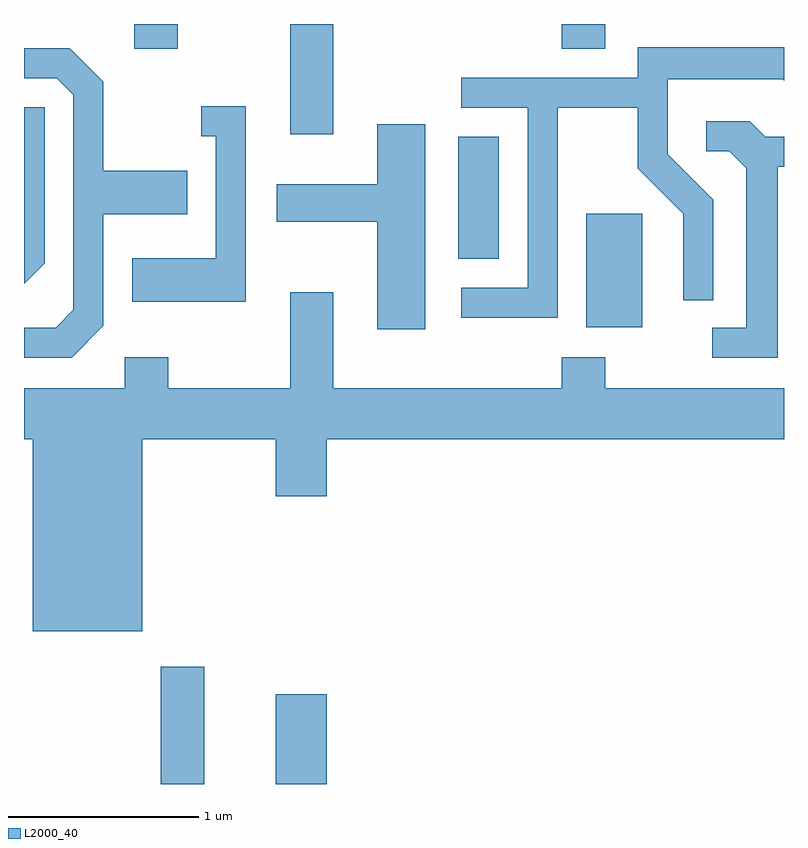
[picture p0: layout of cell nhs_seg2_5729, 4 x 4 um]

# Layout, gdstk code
import gdstk
lib = gdstk.Library(unit=1e-6, precision=1e-09)
def R(c, l, rs):  # rectangles x0, y0, x1, y1
    for r in rs: c.add(gdstk.rectangle(r[:2], r[2:], *l))
def P(c, l, *ps):  # polygons
    for p in ps: c.add(gdstk.Polygon(p, *l))
L2000_40 = (2000, 40)

nhs_seg2_5729 = lib.new_cell('nhs_seg2_5729')
R(nhs_seg2_5729, L2000_40, [(354.331,1079.802,354.559,1080.419), (354.936,1079.802,355.204,1080.274), (356.571,1082.206,356.864,1082.804), (355.896,1082.566,356.109,1083.209), (355.011,1083.221,355.239,1083.802), (354.191,1083.671,354.419,1083.802), (356.441,1083.671,356.669,1083.802)])
P(nhs_seg2_5729, L2000_40, [(356.419,1083.361),(356.841,1083.361),(356.841,1083.044),(357.081,1082.804),(357.081,1082.348),(357.239,1082.348),(357.239,1082.877),(356.999,1083.117),(356.999,1083.511),(357.604,1083.511),(357.611,1083.504),(357.611,1083.679),(356.841,1083.679),(356.841,1083.519),(355.913,1083.519),(355.913,1083.361),(356.261,1083.361),(356.261,1082.414),(355.913,1082.414),(355.913,1082.256),(356.419,1082.256)],
  [(354.029,1082.214),(354.029,1082.801),(354.469,1082.801),(354.469,1083.029),(354.029,1083.029),(354.029,1083.497),(353.852,1083.674),(353.611,1083.674),(353.611,1083.516),(353.784,1083.516),(353.871,1083.429),(353.871,1082.297),(353.779,1082.204),(353.611,1082.204),(353.611,1082.046),(353.862,1082.046)],
  [(354.779,1083.369),(354.543,1083.369),(354.543,1083.211),(354.621,1083.211),(354.621,1082.569),(354.181,1082.569),(354.181,1082.341),(354.779,1082.341)],
  [(353.719,1082.544),(353.719,1083.364),(353.611,1083.364),(353.611,1082.435)],
  [(357.579,1083.051),(357.611,1083.051),(357.611,1083.209),(357.512,1083.209),(357.432,1083.289),(357.203,1083.289),(357.203,1083.131),(357.324,1083.131),(357.411,1083.044),(357.411,1082.204),(357.233,1082.204),(357.233,1082.046),(357.579,1082.046)],
  [(355.724,1083.274),(355.471,1083.274),(355.471,1082.959),(354.941,1082.959),(354.941,1082.761),(355.471,1082.761),(355.471,1082.196),(355.724,1082.196)],
  [(354.234,1081.616),(354.936,1081.616),(354.936,1081.316),(355.204,1081.316),(355.204,1081.616),(357.611,1081.616),(357.611,1081.884),(356.669,1081.884),(356.669,1082.049),(356.441,1082.049),(356.441,1081.884),(355.239,1081.884),(355.239,1082.389),(355.011,1082.389),(355.011,1081.884),(354.369,1081.884),(354.369,1082.049),(354.141,1082.049),(354.141,1081.884),(353.611,1081.884),(353.611,1081.616),(353.656,1081.616),(353.656,1080.606),(354.234,1080.606)])

lib.write_gds('nhs_seg2_5729.gds')
